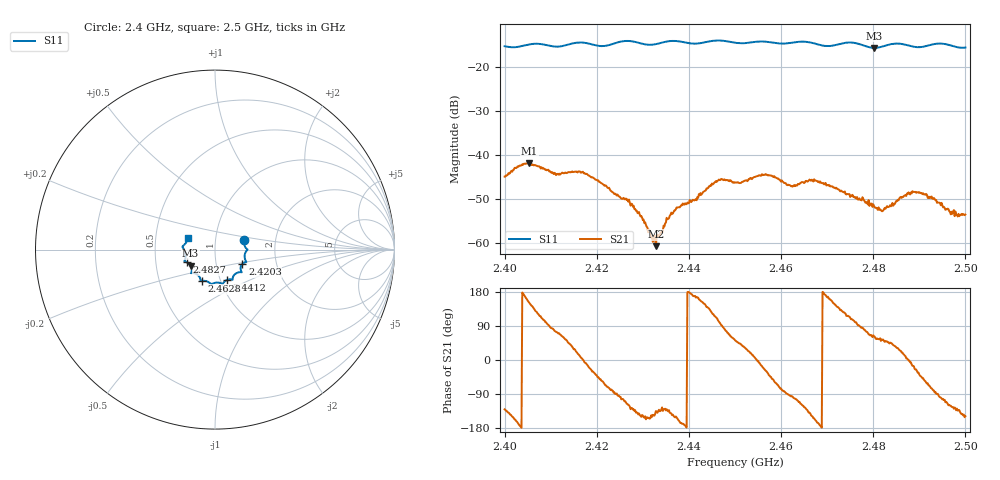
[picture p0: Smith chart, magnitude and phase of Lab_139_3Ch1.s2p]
# Hz S RI R 50
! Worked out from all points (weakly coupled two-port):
!   601 points, 2.4 GHz to 2.5 GHz, reference 50 ohm
!   highest |S21| = -41.94 dB at 2.4053 GHz (marker M1); lowest = -60.8 dB at 2.4328 GHz (marker M2)
!   lowest |S11| = -15.8 dB at 2.4802 GHz (marker M3), VSWR 1.39, Z = 37.5 - j6.91 ohm
!   |S11| at or under -10 dB: start of sweep to end of sweep
!   S12 and S22 are empty: the file has one direction only
!   S11 on the Smith chart (normalised r, x): 2.4 GHz: 1.38, +0.15; 2.4203 GHz: 1.34, -0.22; 2.4412 GHz: 1.08, -0.38; 2.4628 GHz: 0.82, -0.29; 2.4827 GHz: 0.72, -0.10; 2.5 GHz: 0.73, +0.10
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2.4e9  0.1617 0.0527  -0.00363 -0.0043  0 0  0 0
2.405333e9  0.1783 0.00263  -0.00702 0.00384  0 0  0 0
2.411167e9  0.166 -0.0273  0.00158 0.00563  0 0  0 0
2.416667e9  0.1741 -0.0691  0.00622 0.000575  0 0  0 0
2.420333e9  0.1524 -0.0793  0.00358 -0.00361  0 0  0 0
2.427167e9  0.148 -0.1262  -0.00155 -0.00239  0 0  0 0
2.432333e9  0.1054 -0.143  -0.000908 -0.000629  0 0  0 0
2.432833e9  0.1025 -0.1477  -0.000642 -0.000648  0 0  0 0
2.433333e9  0.1003 -0.1519  -0.000874 -0.000863  0 0  0 0
2.437167e9  0.0976 -0.1688  -0.00206 -0.00124  0 0  0 0
2.441167e9  0.0684 -0.1685  -0.00295 0.000615  0 0  0 0
2.446667e9  0.0417 -0.193  -0.000794 0.00506  0 0  0 0
2.45e9  0.0244 -0.1846  0.00296 0.00382  0 0  0 0
2.456333e9  -0.0212 -0.1908  0.00535 -0.00237  0 0  0 0
2.462833e9  -0.0719 -0.1737  -0.000854 -0.00442  0 0  0 0
2.466667e9  -0.0809 -0.1675  -0.00438 -0.00277  0 0  0 0
2.480167e9  -0.136 -0.0898  0.0012 0.00231  0 0  0 0
2.482667e9  -0.158 -0.0706  0.00156 0.00186  0 0  0 0
2.483333e9  -0.1631 -0.0684  0.00175 0.00185  0 0  0 0
2.489e9  -0.1634 -0.0352  0.00345 -0.00152  0 0  0 0
2.497167e9  -0.1688 0.0291  -0.00119 -0.00176  0 0  0 0
2.5e9  -0.1512 0.0646  -0.00178 -0.00109  0 0  0 0
